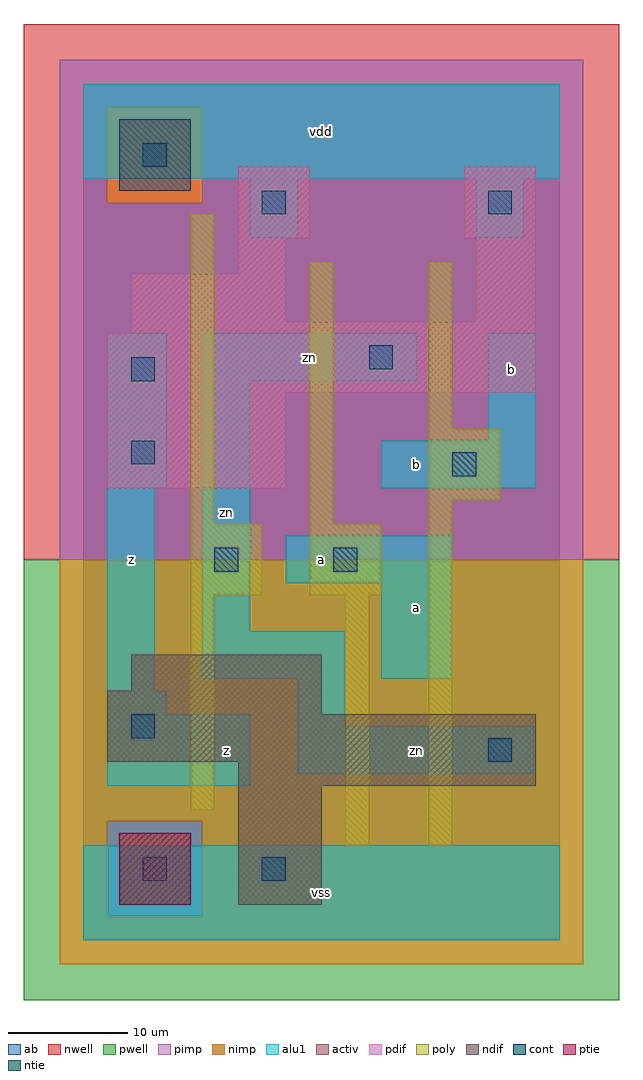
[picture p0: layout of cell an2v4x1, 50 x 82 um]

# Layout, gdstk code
import gdstk
lib = gdstk.Library(unit=1e-6, precision=1e-09)
def R(c, l, rs):  # rectangles x0, y0, x1, y1
    for r in rs: c.add(gdstk.rectangle(r[:2], r[2:], *l))
ndif = (3, 0)
pdif = (4, 0)
ntie = (5, 0)
ptie = (6, 0)
cont = (25, 0)
pwell = (41, 0)
nwell = (42, 0)
activ = (43, 0)
pimp = (44, 0)
nimp = (45, 0)
poly = (46, 0)
alu1 = (49, 0)
ab = (63, 0)

an2v4x1 = lib.new_cell('an2v4x1')
R(an2v4x1, ndif, [(13,3,20,13), (13,13,38,15), (2,15,38,19), (2,19,20,21), (4,21,20,24)])
R(an2v4x1, pdif, [(2,38,17,46), (2,46,38,51), (4,51,38,52), (4,52,17,56), (33,52,38,59), (13,56,17,59), (13,59,19,65), (32,59,38,65)])
R(an2v4x1, ntie, [(3,63,9,69)])
R(an2v4x1, ptie, [(3,3,9,9)])
R(an2v4x1, cont, [(5,5,7,7), (15,5,17,7), (34,15,36,17), (4,17,6,19), (11,31,13,33), (21,31,23,33), (31,39,33,41), (4,40,6,42), (4,47,6,49), (24,48,26,50), (15,61,17,63), (34,61,36,63), (5,65,7,67)])
R(an2v4x1, pwell, [(-5,-5,45,32)])
R(an2v4x1, nwell, [(-5,32,45,77)])
R(an2v4x1, activ, [(3,3,9,9), (13,3,20,13), (13,13,38,15), (2,15,38,19), (2,19,20,21), (4,21,20,24), (2,38,17,46), (2,46,38,51), (4,51,38,52), (4,52,17,56), (33,52,38,59), (13,56,17,59), (13,59,19,65), (32,59,38,65), (3,63,9,69)])
R(an2v4x1, pimp, [(2,2,10,10), (-2,32,42,62), (-2,62,2,70), (10,62,42,70), (-2,70,42,74)])
R(an2v4x1, nimp, [(-2,-2,42,2), (-2,2,2,10), (10,2,42,10), (-2,10,42,32), (2,62,10,70)])
R(an2v4x1, poly, [(22,8,24,29), (29,8,31,37), (9,11,11,29), (9,29,15,35), (19,29,25,35), (9,35,11,61), (19,35,21,57), (29,37,35,43), (29,43,31,57)])
R(an2v4x1, alu1, [(0,0,40,8), (2,13,14,19), (18,14,38,18), (18,18,22,22), (2,19,7,21), (2,21,6,38), (10,22,22,26), (25,22,31,30), (10,26,14,47), (17,30,31,34), (2,38,7,51), (25,38,38,42), (34,42,38,51), (10,47,28,51), (14,59,18,64), (33,59,37,64), (0,64,40,72)])
R(an2v4x1, ab, [(0,0,40,72)])
an2v4x1.add(gdstk.Label('zn', (12,36), layer=49, texttype=0))
an2v4x1.add(gdstk.Label('zn', (28,16), layer=49, texttype=0))
an2v4x1.add(gdstk.Label('zn', (19,49), layer=49, texttype=0))
an2v4x1.add(gdstk.Label('z', (4,32), layer=49, texttype=0))
an2v4x1.add(gdstk.Label('z', (12,16), layer=49, texttype=0))
an2v4x1.add(gdstk.Label('vss', (20,4), layer=49, texttype=0))
an2v4x1.add(gdstk.Label('a', (20,32), layer=49, texttype=0))
an2v4x1.add(gdstk.Label('a', (28,28), layer=49, texttype=0))
an2v4x1.add(gdstk.Label('b', (28,40), layer=49, texttype=0))
an2v4x1.add(gdstk.Label('vdd', (20,68), layer=49, texttype=0))
an2v4x1.add(gdstk.Label('b', (36,48), layer=49, texttype=0))

lib.write_gds('an2v4x1.gds')
